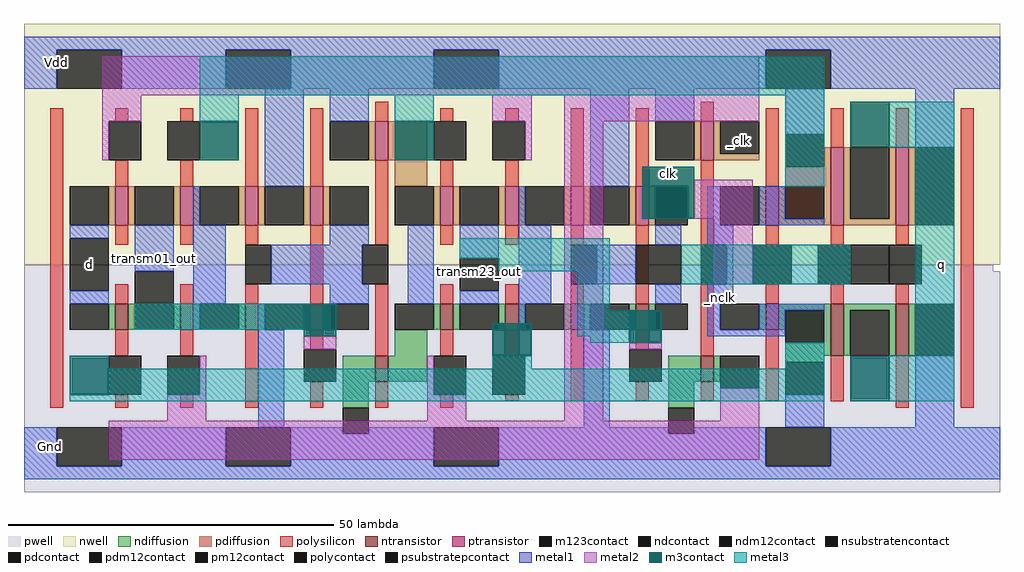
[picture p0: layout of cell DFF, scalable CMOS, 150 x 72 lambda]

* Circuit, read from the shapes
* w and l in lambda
.subckt DFF Gnd Vdd _clk _nclk clk d q transm01_out transm23_out
M1 transm01_out _nclk d Gnd nfet w=4 l=2
M2 n1 _clk transm01_out Gnd nfet w=4 l=2
M3 Gnd n2 n1 Gnd nfet w=4 l=2
M4 n2 transm01_out Gnd Gnd nfet w=4 l=2
M5 n3 n2 Gnd Gnd nfet w=4 l=2
M6 transm23_out _clk n3 Gnd nfet w=4 l=2
M7 n4 _nclk transm23_out Gnd nfet w=4 l=2
M8 Gnd n5 n4 Gnd nfet w=4 l=2
M9 n5 transm23_out Gnd Gnd nfet w=4 l=2
M10 _clk _nclk Gnd Gnd nfet w=4 l=2
M11 Gnd clk _nclk Gnd nfet w=4 l=2
M12 q n5 Gnd Gnd nfet w=8 l=2 m=2
M13 transm01_out _clk d Vdd pfet w=6 l=2
M14 n1 _nclk transm01_out Vdd pfet w=6 l=2
M15 Vdd n2 n1 Vdd pfet w=6 l=2
M16 n2 transm01_out Vdd Vdd pfet w=6 l=2
M17 n3 n2 Vdd Vdd pfet w=6 l=2
M18 transm23_out _nclk n3 Vdd pfet w=6 l=2
M19 n4 _clk transm23_out Vdd pfet w=6 l=2
M20 Vdd n5 n4 Vdd pfet w=6 l=2
M21 n5 transm23_out Vdd Vdd pfet w=6 l=2
M22 _clk _nclk Vdd Vdd pfet w=6 l=2
M23 Vdd clk _nclk Vdd pfet w=6 l=2
M24 q n5 Vdd Vdd pfet w=12 l=2 m=2
.ends

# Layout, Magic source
magic
tech scmos
<< nwell >>
rect 0 -28 150 9
<< pwell >>
rect 0 -29 149 -28
rect 0 -63 150 -29
<< ntransistor >>
rect 14 -38 16 -34
rect 24 -38 26 -34
rect 34 -38 36 -34
rect 44 -38 46 -34
rect 64 -38 66 -34
rect 74 -38 76 -34
rect 84 -38 86 -34
rect 94 -38 96 -34
rect 54 -46 56 -42
rect 114 -38 116 -34
rect 104 -46 106 -42
rect 124 -42 126 -34
rect 134 -42 136 -34
<< ptransistor >>
rect 54 -12 56 -6
rect 14 -22 16 -16
rect 24 -22 26 -16
rect 34 -22 36 -16
rect 44 -22 46 -16
rect 104 -12 106 -6
rect 64 -22 66 -16
rect 74 -22 76 -16
rect 84 -22 86 -16
rect 94 -22 96 -16
rect 114 -22 116 -16
rect 124 -22 126 -10
rect 134 -22 136 -10
<< ndiffusion >>
rect 13 -38 14 -34
rect 16 -38 17 -34
rect 23 -38 24 -34
rect 26 -38 27 -34
rect 33 -38 34 -34
rect 36 -38 37 -34
rect 43 -38 44 -34
rect 46 -38 47 -34
rect 63 -38 64 -34
rect 66 -38 67 -34
rect 73 -38 74 -34
rect 76 -38 77 -34
rect 83 -38 84 -34
rect 86 -38 87 -34
rect 93 -38 94 -34
rect 96 -38 97 -34
rect 57 -42 62 -38
rect 49 -46 54 -42
rect 56 -46 62 -42
rect 49 -50 53 -46
rect 113 -38 114 -34
rect 116 -38 124 -34
rect 99 -46 104 -42
rect 106 -46 107 -42
rect 99 -50 103 -46
rect 117 -42 124 -38
rect 126 -35 134 -34
rect 126 -42 127 -35
rect 133 -42 134 -35
rect 136 -42 137 -34
rect 117 -43 123 -42
<< pdiffusion >>
rect 53 -12 54 -6
rect 56 -12 62 -6
rect 13 -22 14 -16
rect 16 -22 17 -16
rect 23 -22 24 -16
rect 26 -22 27 -16
rect 33 -22 34 -16
rect 36 -22 37 -16
rect 43 -22 44 -16
rect 46 -22 47 -16
rect 57 -16 62 -12
rect 103 -12 104 -6
rect 106 -11 107 -6
rect 106 -12 113 -11
rect 63 -22 64 -16
rect 66 -22 67 -16
rect 73 -22 74 -16
rect 76 -22 77 -16
rect 83 -22 84 -16
rect 86 -22 87 -16
rect 93 -22 94 -16
rect 96 -22 97 -16
rect 123 -13 124 -10
rect 117 -16 124 -13
rect 113 -22 114 -16
rect 116 -22 124 -16
rect 126 -21 127 -10
rect 133 -21 134 -10
rect 126 -22 134 -21
rect 136 -22 137 -10
<< ndcontact >>
rect 7 -38 13 -34
rect 17 -38 23 -34
rect 27 -38 33 -34
rect 37 -38 43 -34
rect 47 -38 53 -34
rect 57 -38 63 -34
rect 67 -38 73 -34
rect 77 -38 83 -34
rect 87 -38 93 -34
rect 97 -38 102 -34
rect 107 -38 113 -34
rect 137 -42 143 -34
rect 117 -48 123 -43
rect 49 -54 53 -50
rect 99 -54 103 -50
<< pdcontact >>
rect 47 -12 53 -6
rect 7 -22 13 -16
rect 17 -22 23 -16
rect 27 -22 33 -16
rect 37 -22 43 -16
rect 47 -22 53 -16
rect 97 -12 103 -6
rect 57 -22 63 -16
rect 67 -22 73 -16
rect 77 -22 83 -16
rect 87 -22 93 -16
rect 97 -22 102 -16
rect 117 -13 123 -8
rect 107 -22 113 -16
rect 137 -22 143 -10
<< psubstratepcontact >>
rect 5 -59 15 -53
rect 31 -59 41 -53
rect 63 -59 73 -53
rect 114 -59 124 -53
<< nsubstratencontact >>
rect 5 -1 15 5
rect 31 -1 41 5
rect 63 -1 73 5
rect 114 -1 124 5
<< polysilicon >>
rect 4 -50 6 -4
rect 14 -6 16 -4
rect 24 -6 26 -4
rect 14 -16 16 -12
rect 24 -16 26 -12
rect 34 -16 36 -4
rect 44 -16 46 -4
rect 54 -6 56 -3
rect 64 -6 66 -4
rect 74 -6 76 -4
rect 14 -25 16 -22
rect 24 -25 26 -22
rect 34 -25 36 -22
rect 14 -34 16 -31
rect 24 -34 26 -31
rect 34 -34 36 -31
rect 44 -34 46 -22
rect 54 -25 56 -12
rect 64 -16 66 -12
rect 74 -16 76 -12
rect 84 -16 86 -4
rect 94 -16 96 -4
rect 104 -6 106 -3
rect 64 -25 66 -22
rect 74 -25 76 -22
rect 84 -25 86 -22
rect 14 -42 16 -38
rect 24 -42 26 -38
rect 14 -50 16 -48
rect 24 -50 26 -48
rect 34 -50 36 -38
rect 44 -41 46 -38
rect 54 -42 56 -31
rect 64 -34 66 -31
rect 74 -34 76 -31
rect 84 -34 86 -31
rect 94 -34 96 -22
rect 104 -25 106 -12
rect 114 -16 116 -4
rect 124 -10 126 -4
rect 134 -10 136 -4
rect 114 -25 116 -22
rect 124 -25 126 -22
rect 134 -25 136 -22
rect 64 -42 66 -38
rect 74 -42 76 -38
rect 44 -50 46 -46
rect 54 -50 56 -46
rect 64 -50 66 -48
rect 74 -49 76 -48
rect 84 -49 86 -38
rect 94 -41 96 -38
rect 104 -42 106 -31
rect 114 -34 116 -31
rect 124 -34 126 -31
rect 134 -34 136 -31
rect 94 -49 96 -46
rect 104 -49 106 -46
rect 114 -49 116 -38
rect 124 -49 126 -42
rect 134 -50 136 -42
rect 144 -50 146 -4
<< polycontact >>
rect 34 -31 38 -25
rect 52 -31 56 -25
rect 84 -31 88 -25
rect 104 -31 108 -25
rect 122 -31 127 -25
rect 133 -31 138 -25
<< metal1 >>
rect 0 5 150 7
rect 0 -1 5 5
rect 15 -1 31 5
rect 41 -1 63 5
rect 73 -1 114 5
rect 124 -1 150 5
rect 37 -16 43 -1
rect 47 -6 53 -1
rect 87 -16 93 -1
rect 97 -6 103 -1
rect 117 -8 123 -1
rect 137 -10 143 -1
rect 7 -24 13 -22
rect 7 -34 13 -32
rect 17 -29 23 -22
rect 26 -22 27 -16
rect 26 -34 31 -22
rect 47 -25 53 -22
rect 38 -31 52 -25
rect 47 -34 53 -31
rect 59 -34 63 -22
rect 26 -38 27 -34
rect 36 -38 37 -34
rect 67 -27 73 -22
rect 67 -34 73 -32
rect 76 -22 77 -16
rect 105 -22 107 -16
rect 113 -21 117 -16
rect 113 -22 123 -21
rect 76 -34 81 -22
rect 97 -25 101 -22
rect 105 -25 109 -22
rect 88 -31 94 -25
rect 108 -31 109 -25
rect 97 -34 101 -31
rect 105 -34 109 -31
rect 76 -38 77 -34
rect 86 -38 87 -34
rect 105 -38 107 -34
rect 113 -35 123 -34
rect 113 -38 117 -35
rect 36 -53 40 -38
rect 0 -59 5 -53
rect 15 -59 31 -53
rect 41 -54 49 -53
rect 86 -53 90 -38
rect 105 -39 117 -38
rect 53 -54 63 -53
rect 41 -59 63 -54
rect 73 -54 99 -53
rect 117 -53 123 -48
rect 137 -53 143 -42
rect 103 -54 114 -53
rect 73 -59 114 -54
rect 124 -59 150 -53
rect 0 -61 150 -59
<< pm12contact >>
rect 13 -12 18 -6
rect 22 -12 27 -6
rect 63 -12 68 -6
rect 72 -12 77 -6
rect 112 -31 118 -25
rect 13 -48 18 -42
rect 22 -48 27 -42
rect 43 -46 48 -41
rect 63 -48 68 -42
rect 72 -48 77 -42
rect 93 -46 98 -41
<< pdm12contact >>
rect 107 -11 113 -6
rect 127 -21 133 -10
<< ndm12contact >>
rect 127 -42 133 -35
rect 107 -47 113 -42
<< metal2 >>
rect 12 -2 113 4
rect 12 -6 18 -2
rect 72 -6 78 -2
rect 12 -12 13 -6
rect 77 -12 78 -6
rect 83 -6 113 -2
rect 43 -41 48 -39
rect 27 -48 28 -42
rect 22 -52 28 -48
rect 62 -48 63 -42
rect 62 -52 68 -48
rect 83 -52 89 -6
rect 103 -21 112 -15
rect 106 -31 112 -21
rect 93 -41 98 -40
rect 107 -52 113 -47
rect 13 -58 113 -52
<< m3contact >>
rect 27 -12 33 -6
rect 57 -12 63 -6
rect 43 -39 48 -34
rect 7 -48 13 -42
rect 72 -42 78 -37
rect 127 -10 133 -3
rect 95 -21 103 -13
rect 93 -40 98 -35
rect 127 -49 133 -42
<< m123contact >>
rect 7 -32 13 -24
rect 17 -34 23 -29
rect 67 -32 73 -27
rect 117 -21 123 -16
rect 94 -31 101 -25
rect 127 -31 133 -25
rect 117 -40 123 -35
<< metal3 >>
rect 27 -2 123 4
rect 27 -6 33 -2
rect 57 -6 63 -2
rect 117 -16 123 -2
rect 133 -10 143 -3
rect 67 -27 90 -24
rect 73 -29 90 -27
rect 17 -38 43 -34
rect 85 -35 90 -29
rect 101 -31 127 -25
rect 85 -39 93 -35
rect 87 -40 93 -39
rect 72 -44 78 -42
rect 117 -44 123 -40
rect 137 -42 143 -10
rect 13 -48 123 -44
rect 7 -49 123 -48
rect 133 -49 143 -42
<< labels >>
rlabel metal3 141 -28 141 -28 1 q
rlabel m123contact 10 -28 10 -28 1 d
rlabel m123contact 70 -29 70 -29 1 transm23_out
rlabel metal1 20 -27 20 -27 1 transm01_out
rlabel pdm12contact 110 -9 110 -9 1 _clk
rlabel m3contact 99 -14 99 -14 1 clk
rlabel metal1 5 3 5 3 4 Vdd
rlabel metal1 4 -56 4 -56 2 Gnd
rlabel metal1 107 -33 107 -33 1 _nclk
<< end >>
